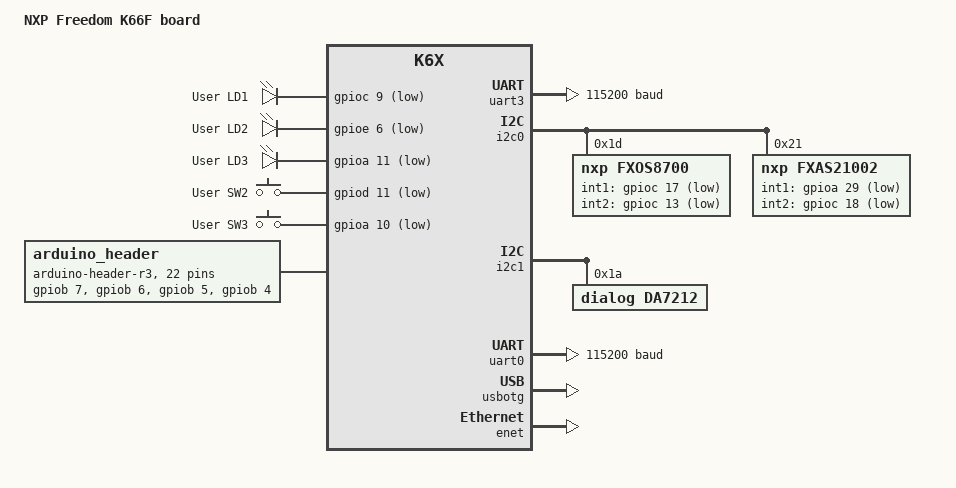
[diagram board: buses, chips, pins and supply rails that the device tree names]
/* SPDX-License-Identifier: Apache-2.0 */

/dts-v1/;

#include <nxp/nxp_k6x.dtsi>

/ {
	model = "NXP Freedom K66F board";
	compatible = "nxp,mk66f18", "nxp,k66f", "nxp,k6x";

	aliases {
		led0 = &green_led;
		led1 = &blue_led;
		led2 = &red_led;
		// TODO: What are these aliases used for? latter parts are sw3 and sw2
		sw0 = &user_button_3;
		sw1 = &user_button_2;
	};

	chosen {
		zephyr,sram = &sram0;
		zephyr,flash = &flash0;
		zephyr,code-partition = &slot0_partition;
		zephyr,console = &uart0;
		zephyr,shell-uart = &uart0;
		zephyr,uart-pipe = &uart0;
	};

	leds {
	  // AKO: 2020-08-10 done
		compatible = "gpio-leds";
		red_led: led_0 {
			gpios = <&gpioc 9 GPIO_ACTIVE_LOW>;
			// TODO: What is significance of these labels? It's a tri-LED, no "label"
			//       for each color
			label = "User LD1";
		};
		green_led: led_1 {
			gpios = <&gpioe 6 GPIO_ACTIVE_LOW>;
			label = "User LD2";
		};
		blue_led: led_2 {
			gpios = <&gpioa 11 GPIO_ACTIVE_LOW>;
			label = "User LD3";
		};
	};

	gpio_keys {
	  // AKO: Done 2020-08-10
		compatible = "gpio-keys";
		// TODO: What is the logic in naming the aliases and actual keys here?
		user_button_2: button_0 {
			label = "User SW2";
			// ext PU not populated. Use internal PU
			gpios = <&gpiod 11 GPIO_ACTIVE_LOW>;
		};
		user_button_3: button_1 {
			label = "User SW3";
			// ext PU not populated. Use internal PU
			gpios = <&gpioa 10 GPIO_ACTIVE_LOW>;
		};
	};

	arduino_header: connector {
	  // AKO 2020-08-10 Done (D10-D13 are identical to K66, otherwise not much common)
		compatible = "arduino-header-r3";
		#gpio-cells = <2>;
		gpio-map-mask = <0xffffffff 0xffffffc0>;
		gpio-map-pass-thru = <0 0x3f>;
		gpio-map = <0 0 &gpiob 7 0>,   /* A0 */
						   <1 0 &gpiob 6 0>,   /* A1 */
						   <2 0 &gpiob 5 0>,   /* A2 */
						   <3 0 &gpiob 4 0>,   /* A3 */
						   <4 0 &gpiob 3 0>,   /* A4 */
						   <5 0 &gpiob 2 0>,   /* A5 */

						   <6 0 &gpioc 3 0>,   /* D0 */
						   <7 0 &gpioc 4 0>,   /* D1 */
						   <8 0 &gpioc 16 0>,  /* D2 */
						   <9 0 &gpioc 8 0>,   /* D3 */
						   <10 0 &gpioc 12 0>, /* D4 */
						   <11 0 &gpioc 5 0>,  /* D5 */
						   <12 0 &gpioc 2 0>,  /* D6 */
						   <13 0 &gpioa 25 0>, /* D7 */
						   
						   <14 0 &gpiob 18 0>, /* D8 */
						   <15 0 &gpiob 19 0>, /* D9 */
						   <16 0 &gpiod 0 0>,  /* D10 */
						   <17 0 &gpiod 2 0>,  /* D11 */
						   <18 0 &gpiod 3 0>,  /* D12 */
						   <19 0 &gpiod 1 0>,  /* D13 */
						   <20 0 &gpioc 11 0>, /* D14 */
						   <21 0 &gpioc 10 0>; /* D15 */
	};
};

arduino_serial: &uart3 {
  // check what this was on old and new
	status = "okay";
	current-speed = <115200>;
};

&cpu0 {
  // AKO what to use here?
	clock-frequency = <120000000>;
};

//&adc0 {
//	status = "okay";
//};

//&adc1 {
//	status = "okay";
//};

//&temp1 {
//	status = "okay";
//};

//&dac0 {
//	status = "okay";
//	voltage-reference = <2>;
//};

// Not available on arduino connector, so removing arduino_i2c here
&i2c0 {
  // AKO 2020-08-10 Done
  // SCL: PTD8, SDA: PTD9, I2C0 instace.
	status = "okay";

	// TODO: Switch later, pullups need checking
	// clock-frequency = <I2C_BITRATE_STANDARD>;

	fxos8700@1d {
		compatible = "nxp,fxos8700";
		reg = <0x1d>;
		label = "FXOS8700";
		// dedicated, no ext PU
		int1-gpios = <&gpioc 17 GPIO_ACTIVE_LOW>;
		// dedicated, no exit PU
		int2-gpios = <&gpioc 13 GPIO_ACTIVE_LOW>;
	};

  fxas21002@21 {
    // SAO=1 -> 0x21 addr
    compatible = "nxp,fxas21002";
    reg = <0x21>;
    label = "FXAS21002";
    // dedicated, no ext PU
    int1-gpios = <&gpioa 29 GPIO_ACTIVE_LOW>;
    // dedicated, no ext PU
    int2-gpios = <&gpioc 18 GPIO_ACTIVE_LOW>;
  };

};

arduino_i2c: &i2c1 {
  // PTC10=SCL, PTC11=SDA using I2C1 instance
  // available on "D14" and "D15" with 2k2 ext PU on both
  status = "okay";

  da7212@1a {
    compatible = "dialog,da7212";
    reg = <0x1a>;
    // TODO: review other codes that have both I2S and I2C parts. There are no
    // interrupts here.
  };

};
  
//arduino_spi: &spi0 {
//	status = "okay";
//};

//&ftm3 {
//	status = "okay";
//	compatible = "nxp,kinetis-ftm-pwm";
//	#pwm-cells = <3>;
//};

&uart0 {
  // AKO 2020-08-10 Done
  // PTB16, PTB17 used with UART0 instance
	status = "okay";
	current-speed = <115200>;
};

&usbotg {
  // AKO 2020-08-10 Done (should be ok?)
	compatible = "nxp,kinetis-usbd";
	status = "okay";
	num-bidir-endpoints = <8>;
};

&gpioa {
	status = "okay";
};

&gpiob {
	status = "okay";
};

&gpioc {
	status = "okay";
};

&gpiod {
	status = "okay";
};

&gpioe {
	status = "okay";
};

&flash0 {
	/*
	 * For more information, see:
	 * https://docs.zephyrproject.org/latest/guides/dts/legacy-macros.html#legacy-flash-partitions
	 */
	partitions {
		compatible = "fixed-partitions";
		#address-cells = <1>;
		#size-cells = <1>;

		boot_partition: partition@0 {
			label = "mcuboot";
			reg = <0x00000000 0x00010000>;
			read-only;
		};

		/*
		 * The flash starting at 0x00010000 and ending at
		 * 0x0001ffff (sectors 16-31) is reserved for use
		 * by the application.
		 */
		storage_partition: partition@1e000 {
			label = "storage";
			reg = <0x0001e000 0x00002000>;
		};

		slot0_partition: partition@20000 {
			label = "image-0";
			reg = <0x00020000 0x00060000>;
		};
		slot1_partition: partition@80000 {
			label = "image-1";
			reg = <0x00080000 0x00060000>;
		};
		scratch_partition: partition@e0000 {
			label = "image-scratch";
			reg = <0x000e0000 0x00020000>;
		};
	};
};

&enet {
  // AKO weird that nothing phy related happens here
	status = "okay";
	ptp {
		status = "okay";
	};
};

// Don't have anything to test this with
//&flexcan0 {
//	status = "okay";
//	bus-speed = <125000>;
//};

&edma0 {
	status = "okay";
};
